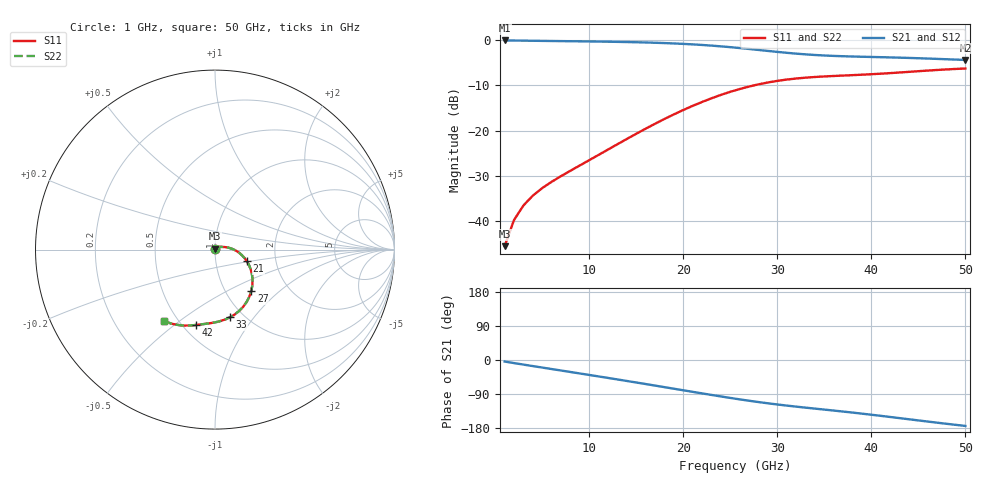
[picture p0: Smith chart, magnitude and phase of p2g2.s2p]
! Impedora 0.10.0 via model, case p2g2 (fullwave/cases.json), 2026-11-19
! One thick plane pair, two stitching vias: ports in the antipads.
! Ports: 1 = upper end, 2 = lower end, 50 ohm.
! Compared with the fine 3D mesh.
# Hz S RI R 50
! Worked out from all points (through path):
!   50 points, 1 GHz to 50 GHz, reference 50 ohm
!   highest |S21| = -0.01 dB at 1 GHz (marker M1); lowest = -4.3 dB at 50 GHz (marker M2)
!   group delay of S21, straight-line fit = 9.68 ps
!   lowest |S11| = -45.7 dB at 1 GHz (marker M3), VSWR 1.01, Z = 50.1 + j0.511 ohm
!   |S11| at or under -10 dB: start of sweep to 27.48 GHz
!   |S22| runs from -45.7 to -6.2 dB; largest |S21 - S12| = 0
!   S11 on the Smith chart (normalised r, x): 1 GHz: 1.00, +0.01; 21 GHz: 1.42, -0.19; 27 GHz: 1.31, -0.67; 33 GHz: 0.87, -0.77; 42 GHz: 0.58, -0.60; 50 GHz: 0.42, -0.44
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1e9  0.00109 0.0051  0.9967 -0.071  0.9967 -0.071  0.00109 0.0051
2e9  0.00406 0.00933  0.9873 -0.1408  0.9873 -0.1408  0.00406 0.00933
3e9  0.00818 0.0123  0.9724 -0.2085  0.9724 -0.2085  0.00818 0.0123
4e9  0.0128 0.014  0.9528 -0.274  0.9528 -0.274  0.0128 0.014
6e9  0.0223 0.0152  0.9013 -0.3984  0.9013 -0.3984  0.0223 0.0152
8e9  0.0324 0.0152  0.8344 -0.5137  0.8344 -0.5137  0.0324 0.0152
1e10  0.0445 0.0148  0.7525 -0.6188  0.7525 -0.6188  0.0445 0.0148
1.2e10  0.0601 0.0134  0.6559 -0.7115  0.6559 -0.7115  0.0601 0.0134
1.4e10  0.0801 0.0094  0.5459 -0.7892  0.5459 -0.7892  0.0801 0.0094
1.6e10  0.1049 0.000259  0.4244 -0.8487  0.4244 -0.8487  0.1049 0.000259
1.8e10  0.1334 -0.0169  0.2946 -0.8869  0.2946 -0.8869  0.1334 -0.0169
2.1e10  0.1769 -0.0636  0.0943 -0.8989  0.0943 -0.8989  0.1769 -0.0636
2.3e10  0.1993 -0.1108  -0.0333 -0.8753  -0.0333 -0.8753  0.1993 -0.1108
2.6e10  0.2079 -0.2007  -0.1975 -0.7993  -0.1975 -0.7993  0.2079 -0.2007
2.7e10  0.2018 -0.2326  -0.242 -0.7666  -0.242 -0.7666  0.2018 -0.2326
3e10  0.1559 -0.3197  -0.3429 -0.6626  -0.3429 -0.6626  0.1559 -0.3197
3.3e10  0.0839 -0.3769  -0.4087 -0.5688  -0.4087 -0.5688  0.0839 -0.3769
3.4e10  0.0587 -0.3885  -0.4272 -0.5412  -0.4272 -0.5412  0.0587 -0.3885
3.7e10  -0.0111 -0.4074  -0.4809 -0.4632  -0.4809 -0.4632  -0.0111 -0.4074
4.2e10  -0.1086 -0.4201  -0.5632 -0.3206  -0.5632 -0.3206  -0.1086 -0.4201
4.6e10  -0.1912 -0.4217  -0.6 -0.1898  -0.6 -0.1898  -0.1912 -0.4217
5e10  -0.2833 -0.3971  -0.6043 -0.0636  -0.6043 -0.0636  -0.2833 -0.3971
